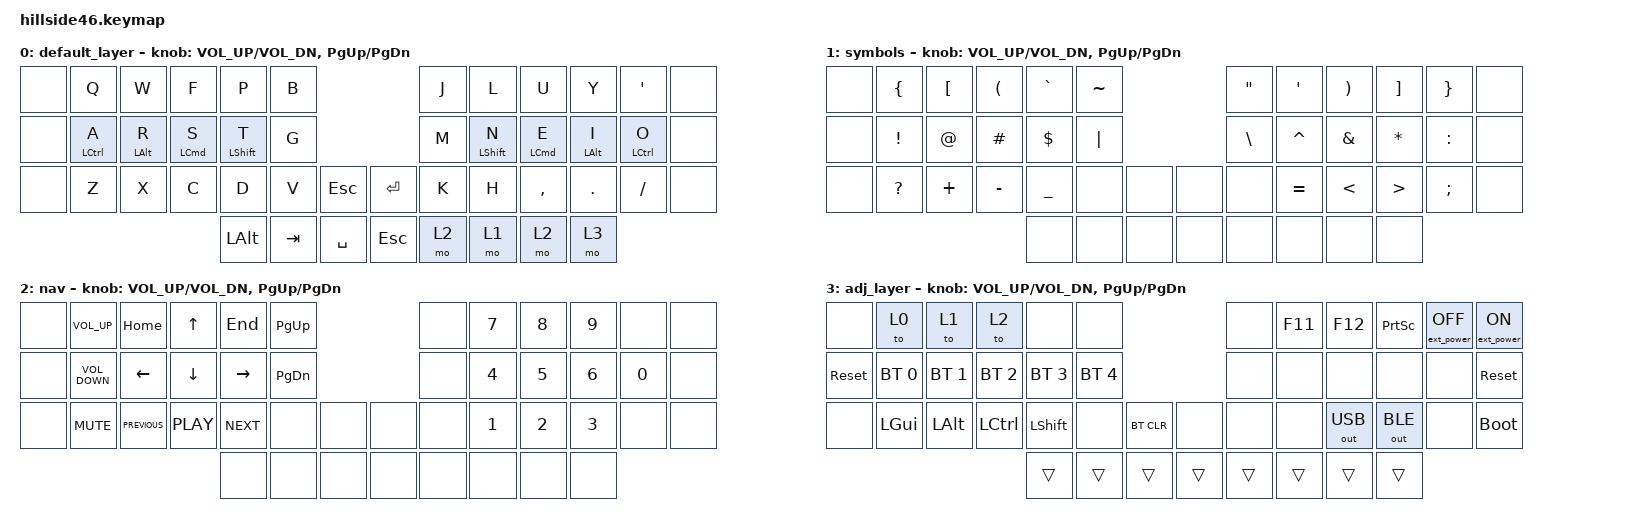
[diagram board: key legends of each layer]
/*
 * Copyright (c) 2021-2022 The ZMK Contributors
 *
 * SPDX-License-Identifier: MIT
 */

#include <behaviors.dtsi>
#include <dt-bindings/zmk/bt.h>
#include <dt-bindings/zmk/ext_power.h>
#include <dt-bindings/zmk/keys.h>
#include <dt-bindings/zmk/outputs.h>

/* Global defaults */

#define COMBO_TERM 30
#define TAPPING_TERM 250
#define QUICK_TAP_TERM 250
#define REQUIRE_PRIOR_IDLE 175

&mt {
    tapping-term-ms = <TAPPING_TERM>;
    flavor = "tap-preferred";
    quick-tap-ms = <QUICK_TAP_TERM>;
    require-prior-idle-ms = <REQUIRE_PRIOR_IDLE>;
};

&lt {
    tapping-term-ms = <TAPPING_TERM>;
    flavor = "tap-preferred";
    quick-tap-ms = <QUICK_TAP_TERM>;
};

/* Mod Morphs (changes to 'shift + key' behavior). */

/ {
    behaviors {
        dot_colon: dot_colon {
            compatible = "zmk,behavior-mod-morph";
            label = "DOT_COLON";
            bindings = <&kp PERIOD>, <&kp COLON>;

            #binding-cells = <0>;
            mods = <(MOD_LSFT)>;
        };

        semi_comma: semi_comma {
            compatible = "zmk,behavior-mod-morph";
            label = "SEMI_COMMA";
            bindings = <&kp COMMA>, <&kp SEMICOLON>;

            #binding-cells = <0>;
            mods = <(MOD_LSFT)>;
        };

        question_exclamation: question_exclamation {
            compatible = "zmk,behavior-mod-morph";
            label = "QUESTION_EXCLAMATION";
            bindings = <&kp QMARK>, <&kp EXCL>;

            #binding-cells = <0>;
            mods = <(MOD_LSFT)>;
        };
    };
};

/ {
    combos {
        compatible = "zmk,combos";

        enter {
            bindings = <&kp ENTER>;
            key-positions = <33 34>;
        };

        backspace {
            bindings = <&kp BACKSPACE>;
            key-positions = <34 35>;
        };

        esc {
            bindings = <&kp ESC>;
            key-positions = <26 27>;
        };

        tab {
            bindings = <&kp TAB>;
            key-positions = <28 27>;
        };
    };

    keymap {
        compatible = "zmk,keymap";

        default_layer {
            /* QWERTY
 * -------------------------------------------------------------------------------------------------------------------------------------
 * | `     |   Q   |   W   |   E   |   R   |   T   |-----------------------------------|   Y   |   U   |   I   |   O   |   P   | BKSPC |
 * | TAB   |   A   |   S   |   D   |   F   |   G   |-----------------------------------|   H   |   J   |   K   |   L   |   ;   | ENTER |
 * | CTRL  |   Z   |   X   |   C   |   V   |   B   |  ESC  |-------------------|  CAPS |   N   |   M   |   ,   |   .   |   /   |   '   |
 *                                 |  GUI  |  ALT  |SK SHFT|  Nav  |---|  Sym  | SPACE |  ALT  |  GUI  |
 */

            bindings = <
&none  &kp Q               &kp W           &kp F               &kp P             &kp B                                            &kp J  &kp L             &kp U               &kp Y           &kp SINGLE_QUOTE    &none
&none  &mt LEFT_CONTROL A  &mt LEFT_ALT R  &mt LEFT_COMMAND S  &mt LEFT_SHIFT T  &kp G                                            &kp M  &mt LEFT_SHIFT N  &mt LEFT_COMMAND E  &mt LEFT_ALT I  &mt LEFT_CONTROL O  &none
&none  &kp Z               &kp X           &kp C               &kp D             &kp V    &kp ESC                      &kp ENTER  &kp K  &kp H             &kp COMMA           &kp DOT         &kp SLASH           &none
                                                               &kp LALT          &kp TAB  &kp SPACE  &kp ESC    &mo 2  &mo 1      &mo 2  &mo 3
            >;

            sensor-bindings = <&inc_dec_kp C_VOL_UP C_VOL_DN &inc_dec_kp PG_UP PG_DN>;
        };

        symbols {
            /* DVORAK
 * -------------------------------------------------------------------------------------------------------------------------------------
 * | `     |   '   |   ,   |   .   |   P   |   Y   |-----------------------------------|   F   |   G   |   C   |   R   |   L   | BKSPC |
 * | TAB   |   A   |   O   |   E   |   U   |   I   |-----------------------------------|   D   |   H   |   T   |   N   |   S   | ENTER |
 * | CTRL  |   ;   |   Q   |   J   |   K   |   X   |  ESC  |-------------------| CAPS  |   B   |   M   |   W   |   V   |   Z   |   /   |
 *                                 |  GUI  |  ALT  |SK SHFT|  Nav  |---|  Sym  | SPACE |  ALT  |  GUI  |
 */

            bindings = <
&none  &kp LEFT_BRACE  &kp LEFT_BRACKET  &kp LEFT_PARENTHESIS  &kp GRAVE   &kp TILDE                                &kp DOUBLE_QUOTES  &kp SINGLE_QUOTE  &kp RIGHT_PARENTHESIS  &kp RIGHT_BRACKET  &kp RIGHT_BRACE  &none
&none  &kp EXCL        &kp AT            &kp POUND             &kp DOLLAR  &kp PIPE                                 &kp BACKSLASH      &kp CARET         &kp AMPS               &kp ASTERISK       &kp COLON        &none
&none  &kp QUESTION    &kp PLUS          &kp MINUS             &kp UNDER   &none      &none                  &none  &none              &kp EQUAL         &kp LESS_THAN          &kp GREATER_THAN   &kp SEMI         &none
                                                               &none       &none      &none  &none    &none  &none  &none              &none
            >;

            sensor-bindings = <&inc_dec_kp C_VOL_UP C_VOL_DN &inc_dec_kp PG_UP PG_DN>;
        };

        nav {
            /* COLEMAK-DH
 * -------------------------------------------------------------------------------------------------------------------------------------
 * | `     |   Q   |   W   |   F   |   P   |   B   |-----------------------------------|   J   |   L   |   U   |   Y   |   ;   | BKSPC |
 * | TAB   |   A   |   R   |   S   |   T   |   G   |-----------------------------------|   M   |   N   |   E   |   I   |   O   | ENTER |
 * | CTRL  |   Z   |   X   |   C   |   D   |   V   |  ESC  |-------------------| CAPS  |   K   |   H   |   ,   |   .   |   /   |   '   |
 *                                 |  GUI  |  ALT  |SK SHFT|  Nav  |---|  Sym  | SPACE |  ALT  |  GUI  |
 */

            bindings = <
&none  &kp C_VOLUME_UP    &kp HOME        &kp UP_ARROW  &kp END     &kp PAGE_UP                                  &none  &kp NUMBER_7  &kp N8        &kp NUMBER_9  &none   &none
&none  &kp C_VOLUME_DOWN  &kp LEFT        &kp DOWN      &kp RIGHT   &kp PAGE_DOWN                                &none  &kp NUMBER_4  &kp NUMBER_5  &kp NUMBER_6  &kp N0  &none
&none  &kp K_MUTE         &kp C_PREVIOUS  &kp C_PLAY    &kp C_NEXT  &none          &none                  &none  &none  &kp NUMBER_1  &kp NUMBER_2  &kp NUMBER_3  &none   &none
                                                        &none       &none          &none  &none    &none  &none  &none  &none
            >;

            sensor-bindings = <&inc_dec_kp C_VOL_UP C_VOL_DN &inc_dec_kp PG_UP PG_DN>;
        };

        adj_layer {
            /* ADJUST
 * -------------------------------------------------------------------------------------------------------------------------------------
 * |       | QWERTY| DVORAK| COLEMK|       |       |-----------------------------------|       |  F11  |  F12  |Prt Scr|EP_OFF | EP_ON |
 * | RESET | BT 0  | BT 1  | BT 2  | BT 3  | BT 4  |-----------------------------------|       |       |       |       |       | RESET |
 * |       | LGUI  | LALT  | LCTRL | LSHIFT|       |BT CLR |-------------------|       |       |       |OUT_USB|OUT_BLE|       | BOOTL |
 *                                 |       |       |       |       |---|       |       |       |       |
 */

            bindings = <
&none       &to 0         &to 1         &to 2         &none         &none                                               &none   &kp F11  &kp F12       &kp PRINTSCREEN  &ext_power EP_OFF  &ext_power EP_ON
&sys_reset  &bt BT_SEL 0  &bt BT_SEL 1  &bt BT_SEL 2  &bt BT_SEL 3  &bt BT_SEL 4                                        &none   &none    &none         &none            &none              &sys_reset
&none       &kp LGUI      &kp LALT      &kp LCTRL     &kp LSHIFT    &none         &bt BT_CLR                    &none   &none   &none    &out OUT_USB  &out OUT_BLE     &none              &bootloader
                                                      &trans        &trans        &trans      &trans    &trans  &trans  &trans  &trans
            >;

            sensor-bindings = <&inc_dec_kp C_VOL_UP C_VOL_DN &inc_dec_kp PG_UP PG_DN>;
        };
    };
};
